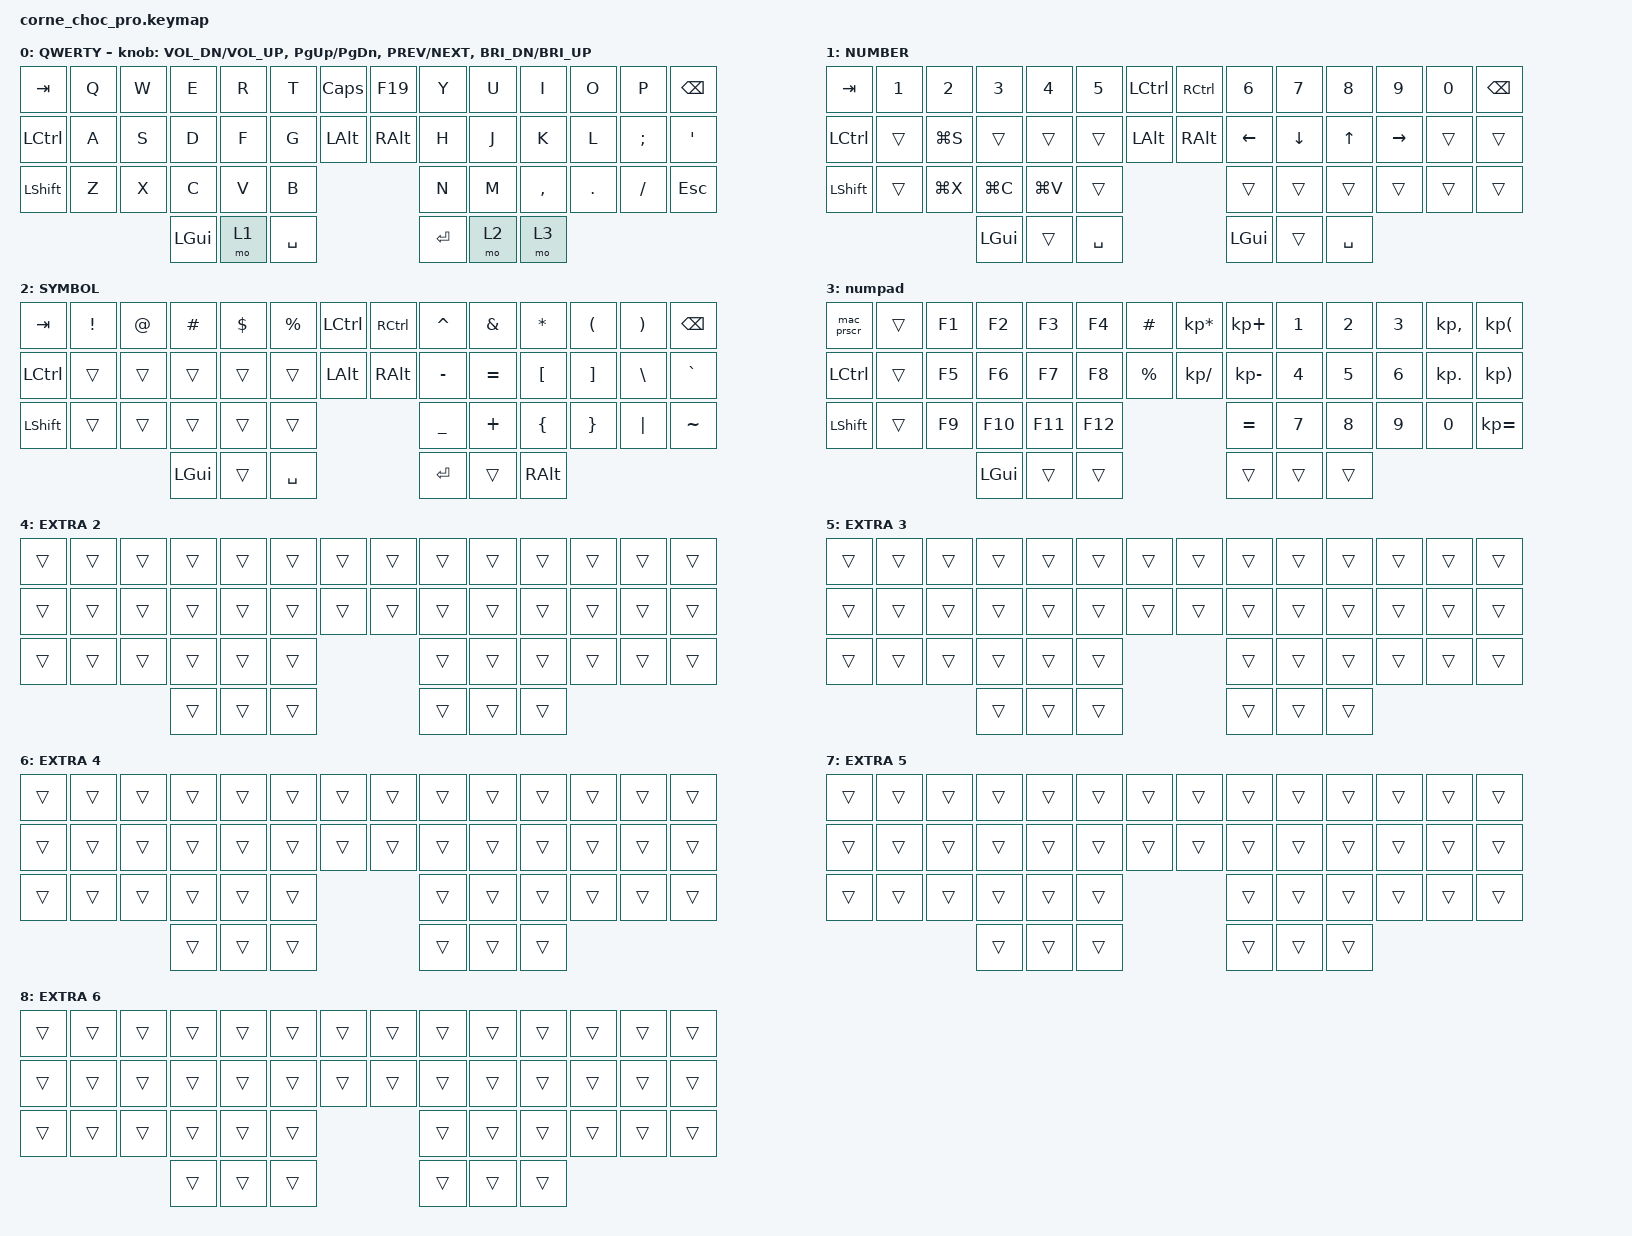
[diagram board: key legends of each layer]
/*
 * Copyright (c) 2020 The ZMK Contributors
 *
 * SPDX-License-Identifier: MIT
 */

#include <behaviors.dtsi>
#include <dt-bindings/zmk/bt.h>
#include <dt-bindings/zmk/keys.h>
#include <dt-bindings/zmk/rgb.h>

/ {
    chosen { zmk,physical-layout = &default_layout; };
};

/ {
    combos {
        compatible = "zmk,combos";

        combo_bt0 {
            bindings = <&bt BT_SEL 0>;
            key-positions = <15 41 44>;
            timeout-ms = <500>;
        };

        combo_bt1 {
            bindings = <&bt BT_SEL 1>;
            key-positions = <41 44 16>;
            timeout-ms = <500>;
        };

        combo_sunlock {
            bindings = <&studio_unlock>;
            key-positions = <41 44 33>;
        };

        combo_bootloader {
            bindings = <&bootloader>;
            key-positions = <41 44 32>;
        };

        combo_sysreset {
            bindings = <&sys_reset>;
            key-positions = <44 41 31>;
        };

        combo_btclr {
            bindings = <&bt BT_CLR>;
            key-positions = <44 41 29>;
        };

        combo_rgbmode {
            bindings = <&rgb_ug RGB_TOG>;
            key-positions = <44 41 30>;
        };

        combo_bt2 {
            bindings = <&bt BT_SEL 2>;
            key-positions = <41 44 17>;
            timeout-ms = <500>;
        };

        combo_bt3 {
            bindings = <&bt BT_SEL 3>;
            key-positions = <41 44 18>;
            timeout-ms = <500>;
        };

        combo_bt4 {
            bindings = <&bt BT_SEL 4>;
            key-positions = <41 44 19>;
            timeout-ms = <500>;
        };
    };

    macros {
        mac_prscr: mac_prscr {
            compatible = "zmk,behavior-macro";
            #binding-cells = <0>;
            bindings = <&kp LS(LG(NUMBER_4))>;
            label = "MAC_PRSCR";
        };
    };

    keymap {
        compatible = "zmk,keymap";

        default_layer {
            display-name = "QWERTY";

            // --------------------------------------------------------------------------------
            // |  TAB |  Q  |  W  |  E  |  R  |  T  |  MUTE |  PP   |  Y  |  U   |  I  |  O  |  P  | BSPC |
            // | CTRL |  A  |  S  |  D  |  F  |  G  |  LALT |  RALT |  H  |  J   |  K  |  L  |  ;  |  '   |
            // | SHFT |  Z  |  X  |  C  |  V  |  B  |               |  N  |  M   |  ,  |  .  |  /  | ESC  |
            //                    | GUI | LWR | SPC |               | ENT | RSE  | ALT |

            bindings = <
&kp TAB    &kp Q  &kp W  &kp E     &kp R  &kp T      &kp CAPS  &kp F19   &kp Y    &kp U  &kp I      &kp O    &kp P     &kp BSPC
&kp LCTRL  &kp A  &kp S  &kp D     &kp F  &kp G      &kp LALT  &kp RALT  &kp H    &kp J  &kp K      &kp L    &kp SEMI  &kp SQT
&kp LSHFT  &kp Z  &kp X  &kp C     &kp V  &kp B                          &kp N    &kp M  &kp COMMA  &kp DOT  &kp FSLH  &kp ESC
                         &kp LGUI  &mo 1  &kp SPACE                      &kp RET  &mo 2  &mo 3
            >;

            sensor-bindings = <&inc_dec_kp C_VOL_DN C_VOL_UP &inc_dec_kp PG_UP PG_DN &inc_dec_kp C_PREV C_NEXT &inc_dec_kp C_BRI_DN C_BRI_UP>;
        };

        lower_layer {
            display-name = "NUMBER";

            // -----------------------------------------------------------------------------------------
            // |  TAB |  1  |  2  |  3  |  4  |  5    |  LCTRL | RCTRL |  6  |  7  |  8  |  9  |  0  | BSPC |
            // | CTRL | BT1 | BT2 | BT3 | BT4 | BT5   |  LALT  | RALT  | LFT | DWN |  UP | RGT |     |      |
            // | SHFT | BTCR| RGB | RST | BOOT| Unlock|        |       |     |     |     |     |     |      |
            //                    | GUI |     | SPC   |        | ENT   |     | ALT |

            bindings = <
&kp TAB    &kp N1  &kp N2     &kp N3     &kp N4     &kp N5     &kp LCTRL  &kp RCTRL  &kp N6    &kp N7    &kp N8     &kp N9     &kp N0  &kp BSPC
&kp LCTRL  &trans  &kp LG(S)  &trans     &trans     &trans     &kp LALT   &kp RALT   &kp LEFT  &kp DOWN  &kp UP     &kp RIGHT  &trans  &trans
&kp LSHFT  &trans  &kp LG(X)  &kp LG(C)  &kp LG(V)  &trans                           &trans    &trans    &trans     &trans     &trans  &trans
                              &kp LGUI   &trans     &kp SPACE                        &kp LGUI  &trans    &kp SPACE
            >;
        };

        raise_layer {
            display-name = "SYMBOL";

            // -----------------------------------------------------------------------------------------
            // |  TAB |  !  |  @  |  #  |  $  |  %  | LCTRL | RCTRL |  ^  |  &  |  *  |  (  |  )  | BSPC |
            // | CTRL |     |     |     |     |     |  LALT | RALT  |  -  |  =  |  [  |  ]  |  \  |  `   |
            // | SHFT |     |     |     |     |     |               |  _  |  +  |  {  |  }  | "|" |  ~   |
            //                    | GUI |     | SPC |               | ENT |     | ALT |

            bindings = <
&kp TAB    &kp EXCL  &kp AT  &kp HASH  &kp DLLR  &kp PRCNT  &kp LCTRL  &kp RCTRL  &kp CARET  &kp AMPS   &kp ASTRK  &kp LPAR  &kp RPAR  &kp BSPC
&kp LCTRL  &trans    &trans  &trans    &trans    &trans     &kp LALT   &kp RALT   &kp MINUS  &kp EQUAL  &kp LBKT   &kp RBKT  &kp BSLH  &kp GRAVE
&kp LSHFT  &trans    &trans  &trans    &trans    &trans                           &kp UNDER  &kp PLUS   &kp LBRC   &kp RBRC  &kp PIPE  &kp TILDE
                             &kp LGUI  &trans    &kp SPACE                        &kp RET    &trans     &kp RALT
            >;
        };

        Numpad_Layer {
            display-name = "numpad";
            bindings = <
&mac_prscr      &trans  &kp F1  &kp F2    &kp F3   &kp F4   &kp HASH     &kp KP_MULTIPLY  &kp KP_PLUS      &kp N1  &kp N2  &kp N3  &kp KP_COMMA  &kp KP_LEFT_PARENTHESIS
&kp LCTRL       &trans  &kp F5  &kp F6    &kp F7   &kp F8   &kp PERCENT  &kp KP_DIVIDE    &kp KP_SUBTRACT  &kp N4  &kp N5  &kp N6  &kp KP_DOT    &kp KP_RIGHT_PARENTHESIS
&kp LEFT_SHIFT  &trans  &kp F9  &kp F10   &kp F11  &kp F12                                &kp EQUAL        &kp N7  &kp N8  &kp N9  &kp N0        &kp KP_EQUAL
                                &kp LGUI  &trans   &trans                                 &trans           &trans  &trans
            >;
        };

        extra_layer_2 {
            display-name = "EXTRA 2";
            bindings = <
&trans  &trans  &trans  &trans  &trans  &trans  &trans  &trans  &trans  &trans  &trans  &trans  &trans  &trans
&trans  &trans  &trans  &trans  &trans  &trans  &trans  &trans  &trans  &trans  &trans  &trans  &trans  &trans
&trans  &trans  &trans  &trans  &trans  &trans                  &trans  &trans  &trans  &trans  &trans  &trans
                        &trans  &trans  &trans                  &trans  &trans  &trans
            >;
        };

        extra_layer_3 {
            display-name = "EXTRA 3";
            bindings = <
&trans  &trans  &trans  &trans  &trans  &trans  &trans  &trans  &trans  &trans  &trans  &trans  &trans  &trans
&trans  &trans  &trans  &trans  &trans  &trans  &trans  &trans  &trans  &trans  &trans  &trans  &trans  &trans
&trans  &trans  &trans  &trans  &trans  &trans                  &trans  &trans  &trans  &trans  &trans  &trans
                        &trans  &trans  &trans                  &trans  &trans  &trans
            >;
        };

        extra_layer_4 {
            display-name = "EXTRA 4";
            bindings = <
&trans  &trans  &trans  &trans  &trans  &trans  &trans  &trans  &trans  &trans  &trans  &trans  &trans  &trans
&trans  &trans  &trans  &trans  &trans  &trans  &trans  &trans  &trans  &trans  &trans  &trans  &trans  &trans
&trans  &trans  &trans  &trans  &trans  &trans                  &trans  &trans  &trans  &trans  &trans  &trans
                        &trans  &trans  &trans                  &trans  &trans  &trans
            >;
        };

        extra_layer_5 {
            display-name = "EXTRA 5";
            bindings = <
&trans  &trans  &trans  &trans  &trans  &trans  &trans  &trans  &trans  &trans  &trans  &trans  &trans  &trans
&trans  &trans  &trans  &trans  &trans  &trans  &trans  &trans  &trans  &trans  &trans  &trans  &trans  &trans
&trans  &trans  &trans  &trans  &trans  &trans                  &trans  &trans  &trans  &trans  &trans  &trans
                        &trans  &trans  &trans                  &trans  &trans  &trans
            >;
        };

        extra_layer_6 {
            display-name = "EXTRA 6";
            bindings = <
&trans  &trans  &trans  &trans  &trans  &trans  &trans  &trans  &trans  &trans  &trans  &trans  &trans  &trans
&trans  &trans  &trans  &trans  &trans  &trans  &trans  &trans  &trans  &trans  &trans  &trans  &trans  &trans
&trans  &trans  &trans  &trans  &trans  &trans                  &trans  &trans  &trans  &trans  &trans  &trans
                        &trans  &trans  &trans                  &trans  &trans  &trans
            >;
        };
    };
};
